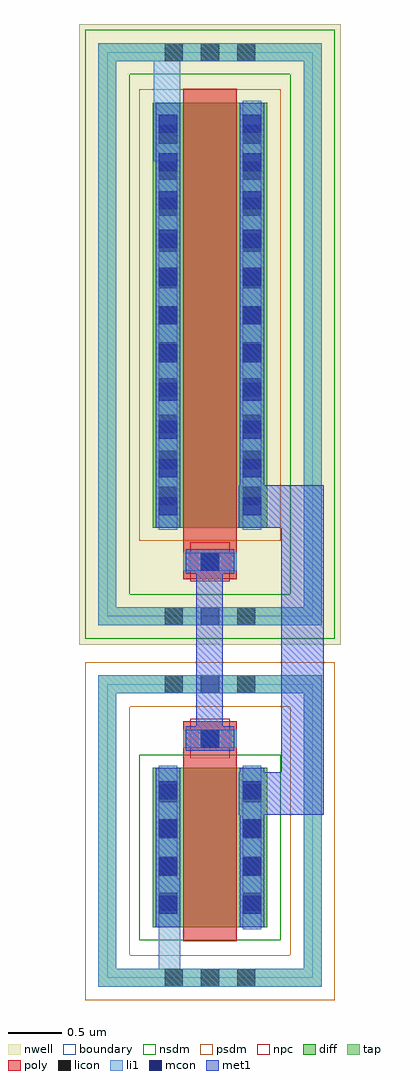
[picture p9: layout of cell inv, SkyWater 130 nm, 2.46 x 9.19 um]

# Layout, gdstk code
import gdstk
lib = gdstk.Library(unit=1e-6, precision=1e-09)
def R(c, l, rs):  # rectangles x0, y0, x1, y1
    for r in rs: c.add(gdstk.rectangle(r[:2], r[2:], *l))
def A(c, l, x, y, w, h, nx, ny, dx, dy):  # array of equal rectangles
    R(c, l, [(x+i*dx, y+j*dy, x+i*dx+w, y+j*dy+h) for i in range(nx) for j in range(ny)])
nwell = (64, 20)
diff = (65, 20)
tap = (65, 44)
poly = (66, 20)
licon = (66, 44)
li1 = (67, 20)
mcon = (67, 44)
met1 = (68, 20)
nsdm = (93, 44)
psdm = (94, 20)
npc = (95, 20)
boundary = (235, 4)

sky130_fd_pr__pfet_01v8_ = lib.new_cell('sky130_fd_pr__pfet_01v8_TSNZVH')
R(sky130_fd_pr__pfet_01v8_, nwell, [(-1.23,-2.92,1.23,2.92)])
R(sky130_fd_pr__pfet_01v8_, diff, [(-0.54,-1.82,0.54,2.18)])
R(sky130_fd_pr__pfet_01v8_, tap, [(-1.05,-2.74,1.05,-2.57), (-1.05,-2.57,-0.88,2.57), (0.88,-2.57,1.05,2.57), (-1.05,2.57,1.05,2.74)])
R(sky130_fd_pr__pfet_01v8_, poly, [(-0.25,-2.305,0.25,2.31)])
A(sky130_fd_pr__pfet_01v8_, licon, -0.425, -2.74, 0.17, 0.17, 3, 2, 0.34, 5.31)
A(sky130_fd_pr__pfet_01v8_, licon, -0.48, -1.605, 0.17, 0.17, 1, 11, 0, 0.34)
A(sky130_fd_pr__pfet_01v8_, licon, 0.31, -1.605, 0.17, 0.17, 1, 11, 0, 0.34)
R(sky130_fd_pr__pfet_01v8_, licon, [(-0.085,-2.225,0.085,-2.055)])
R(sky130_fd_pr__pfet_01v8_, li1, [(-1.05,-2.74,1.05,-2.57), (-1.05,-2.57,-0.88,2.57), (0.88,-2.57,1.05,2.57), (-0.25,-2.225,0.25,-2.055), (-0.48,-1.84,-0.31,2.2), (0.31,-1.84,0.48,2.2), (-1.05,2.57,1.05,2.74)])
A(sky130_fd_pr__pfet_01v8_, mcon, -0.48, -1.705, 0.17, 0.17, 1, 11, 0, 0.36)
A(sky130_fd_pr__pfet_01v8_, mcon, 0.31, -1.705, 0.17, 0.17, 1, 11, 0, 0.36)
R(sky130_fd_pr__pfet_01v8_, mcon, [(-0.085,-2.225,0.085,-2.055)])
R(sky130_fd_pr__pfet_01v8_, met1, [(-0.23,-2.255,0.23,-2.025), (-0.51,-1.82,-0.28,2.18), (0.28,-1.82,0.51,2.18)])
R(sky130_fd_pr__pfet_01v8_, nsdm, [(-1.175,-2.865,1.175,-2.445), (-1.175,-2.445,-0.755,2.445), (0.755,-2.445,1.175,2.445), (-1.175,2.445,1.175,2.865)])
R(sky130_fd_pr__pfet_01v8_, psdm, [(-0.665,-1.945,0.665,2.305)])
R(sky130_fd_pr__pfet_01v8_, npc, [(-0.185,-2.325,0.185,-1.955)])
R(sky130_fd_pr__pfet_01v8_, boundary, [(-0.965,-2.655,0.965,2.655)])

sky130_fd_pr__nfet_01v8_ = lib.new_cell('sky130_fd_pr__nfet_01v8_Y5UG24')
R(sky130_fd_pr__nfet_01v8_, diff, [(-0.54,-0.905,0.54,0.595)])
R(sky130_fd_pr__nfet_01v8_, tap, [(-1.05,-1.465,1.05,-1.295), (-1.05,-1.295,-0.88,1.295), (0.88,-1.295,1.05,1.295), (-1.05,1.295,1.05,1.465)])
R(sky130_fd_pr__nfet_01v8_, poly, [(-0.25,-1.035,0.25,1.035)])
A(sky130_fd_pr__nfet_01v8_, licon, -0.425, -1.465, 0.17, 0.17, 3, 2, 0.34, 2.76)
A(sky130_fd_pr__nfet_01v8_, licon, -0.48, -0.75, 0.17, 0.17, 1, 4, 0, 0.34)
A(sky130_fd_pr__nfet_01v8_, licon, 0.31, -0.75, 0.17, 0.17, 1, 4, 0, 0.34)
R(sky130_fd_pr__nfet_01v8_, licon, [(-0.085,0.785,0.085,0.955)])
R(sky130_fd_pr__nfet_01v8_, li1, [(-1.05,-1.465,1.05,-1.295), (-1.05,-1.295,-0.88,1.295), (0.88,-1.295,1.05,1.295), (-0.48,-0.925,-0.31,0.615), (0.31,-0.925,0.48,0.615), (-0.25,0.785,0.25,0.955), (-1.05,1.295,1.05,1.465)])
A(sky130_fd_pr__nfet_01v8_, mcon, -0.48, -0.78, 0.17, 0.17, 1, 4, 0, 0.36)
A(sky130_fd_pr__nfet_01v8_, mcon, 0.31, -0.78, 0.17, 0.17, 1, 4, 0, 0.36)
R(sky130_fd_pr__nfet_01v8_, mcon, [(-0.085,0.785,0.085,0.955)])
R(sky130_fd_pr__nfet_01v8_, met1, [(-0.51,-0.905,-0.28,0.595), (0.28,-0.905,0.51,0.595), (-0.23,0.755,0.23,0.985)])
R(sky130_fd_pr__nfet_01v8_, nsdm, [(-0.665,-1.03,0.665,0.72)])
R(sky130_fd_pr__nfet_01v8_, psdm, [(-1.175,-1.59,1.175,-1.17), (-1.175,-1.17,-0.755,1.17), (0.755,-1.17,1.175,1.17), (-1.175,1.17,1.175,1.59)])
R(sky130_fd_pr__nfet_01v8_, npc, [(-0.185,0.685,0.185,1.055)])
R(sky130_fd_pr__nfet_01v8_, boundary, [(-0.965,-1.38,0.965,1.38)])

inv = lib.new_cell('inv')
R(inv, li1, [(0.45,-3.6,0.65,-2.6), (0.4,4.15,0.65,5.2)])
R(inv, met1, [(1.2,-2,2,-1.6), (1.6,-1.6,2,0.7), (0.8,-1.35,1.05,0.45), (1.2,0.7,2,1.1)])
inv.add(gdstk.Reference(sky130_fd_pr__pfet_01v8_, (0.93,2.52)))
inv.add(gdstk.Reference(sky130_fd_pr__nfet_01v8_, (0.93,-2.155)))

lib.write_gds('inv.gds')
